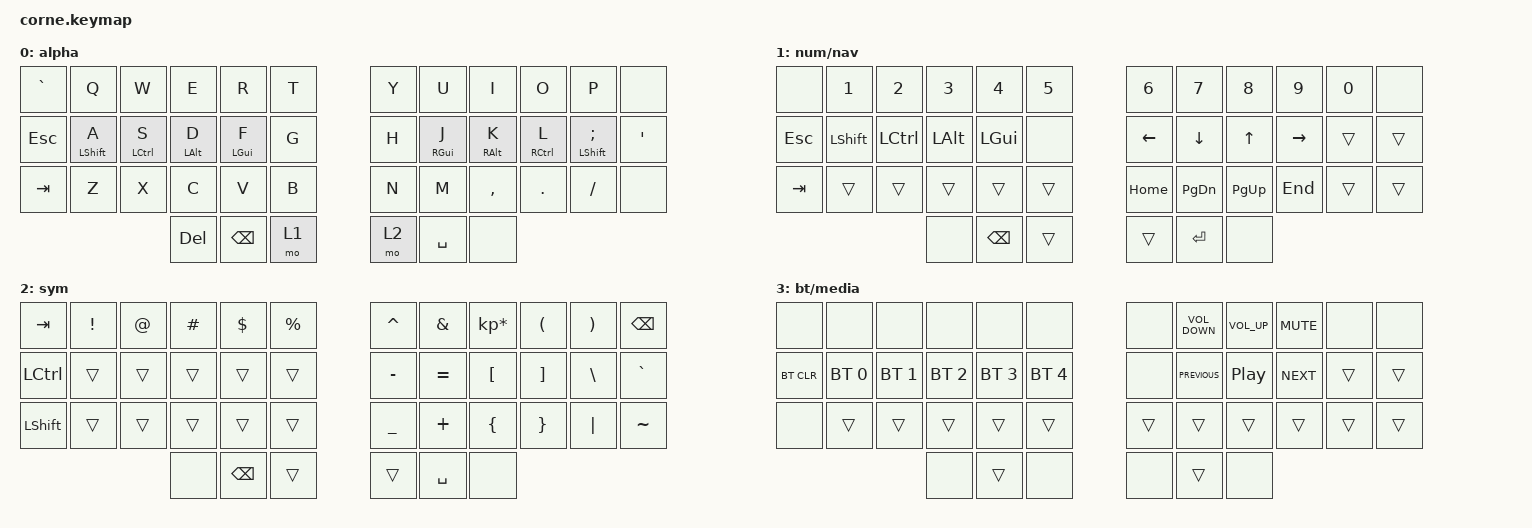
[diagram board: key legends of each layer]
/*
 * Copyright (c) 2020 The ZMK Contributors
 *
 * SPDX-License-Identifier: MIT
 */

#include <behaviors.dtsi>
#include <dt-bindings/zmk/bt.h>
#include <dt-bindings/zmk/keys.h>

&mt {
    tapping-term-ms = <400>;
    flavor = "balanced";
};

/ {
    combos {
        compatible = "zmk,combos";

        bt_media_layer {
            bindings = <&mo 3>;
            key-positions = <38 39>;
        };
    };

    keymap {
        compatible = "zmk,keymap";

        default_layer {
            // -----------------------------------------------------------------------------------------
            // |  TAB |  Q  |  W  |  E  |  R  |  T  |   |  Y  |  U   |  I  |  O  |  P  | BKSP |
            // | CTRL |  A  |  S  |  D  |  F  |  G  |   |  H  |  J   |  K  |  L  |  ;  |  '   |
            // | SHFT |  Z  |  X  |  C  |  V  |  B  |   |  N  |  M   |  ,  |  .  |  /  | ESC  |
            //                    | GUI | LWR | SPC |   | ENT | RSE  | ALT |

            display-name = "alpha";
            bindings = <
&kp GRAVE   &kp Q             &kp W               &kp E           &kp R           &kp T    &kp Y  &kp U            &kp I            &kp O                &kp P                &none
&kp ESCAPE  &mt LEFT_SHIFT A  &mt LEFT_CONTROL S  &mt LEFT_ALT D  &mt LEFT_GUI F  &kp G    &kp H  &mt RIGHT_GUI J  &mt RIGHT_ALT K  &mt RIGHT_CONTROL L  &mt LEFT_SHIFT SEMI  &kp SQT
&kp TAB     &kp Z             &kp X               &kp C           &kp V           &kp B    &kp N  &kp M            &kp COMMA        &kp DOT              &kp FSLH             &none
                                                  &kp DELETE      &kp BACKSPACE   &mo 1    &mo 2  &kp SPACE        &none
            >;
        };

        lower_layer {
            // -----------------------------------------------------------------------------------------
            // |  TAB |  1  |  2  |  3  |  4  |  5  |   |  6  |  7  |  8  |  9  |  0  | BKSP |
            // | BTCLR| BT1 | BT2 | BT3 | BT4 | BT5 |   | LFT | DWN |  UP | RGT |     |      |
            // | SHFT |     |     |     |     |     |   |     |     |     |     |     |      |
            //                    | GUI |     | SPC |   | ENT |     | ALT |

            display-name = "num/nav";
            bindings = <
&none       &kp N1          &kp N2            &kp N3        &kp N4         &kp N5    &kp N6    &kp N7         &kp N8       &kp N9     &kp N0  &none
&kp ESCAPE  &kp LEFT_SHIFT  &kp LEFT_CONTROL  &kp LEFT_ALT  &kp LEFT_GUI   &none     &kp LEFT  &kp DOWN       &kp UP       &kp RIGHT  &trans  &trans
&kp TAB     &trans          &trans            &trans        &trans         &trans    &kp HOME  &kp PAGE_DOWN  &kp PAGE_UP  &kp END    &trans  &trans
                                              &none         &kp BACKSPACE  &trans    &trans    &kp RETURN     &none
            >;
        };

        raise_layer {
            // -----------------------------------------------------------------------------------------
            // |  TAB |  !  |  @  |  #  |  $  |  %  |   |  ^  |  &  |  *  |  (  |  )  | BKSP |
            // | CTRL |     |     |     |     |     |   |  -  |  =  |  [  |  ]  |  \  |  `   |
            // | SHFT |     |     |     |     |     |   |  _  |  +  |  {  |  }  | "|" |  ~   |
            //                    | GUI |     | SPC |   | ENT |     | ALT |

            display-name = "sym";
            bindings = <
&kp TAB    &kp EXCL  &kp AT  &kp HASH  &kp DLLR       &kp PRCNT    &kp CARET  &kp AMPS   &kp KP_MULTIPLY  &kp LPAR  &kp RPAR  &kp BSPC
&kp LCTRL  &trans    &trans  &trans    &trans         &trans       &kp MINUS  &kp EQUAL  &kp LBKT         &kp RBKT  &kp BSLH  &kp GRAVE
&kp LSHFT  &trans    &trans  &trans    &trans         &trans       &kp UNDER  &kp PLUS   &kp LBRC         &kp RBRC  &kp PIPE  &kp TILDE
                             &none     &kp BACKSPACE  &trans       &trans     &kp SPACE  &none
            >;
        };

        bt_media {
            display-name = "bt/media";
            bindings = <
&none       &none         &none         &none         &none         &none           &none   &kp C_VOLUME_DOWN  &kp C_VOLUME_UP   &kp C_MUTE  &none   &none
&bt BT_CLR  &bt BT_SEL 0  &bt BT_SEL 1  &bt BT_SEL 2  &bt BT_SEL 3  &bt BT_SEL 4    &none   &kp C_PREVIOUS     &kp C_PLAY_PAUSE  &kp C_NEXT  &trans  &trans
&none       &trans        &trans        &trans        &trans        &trans          &trans  &trans             &trans            &trans      &trans  &trans
                                        &none         &trans        &none           &none   &trans             &none
            >;
        };
    };
};
